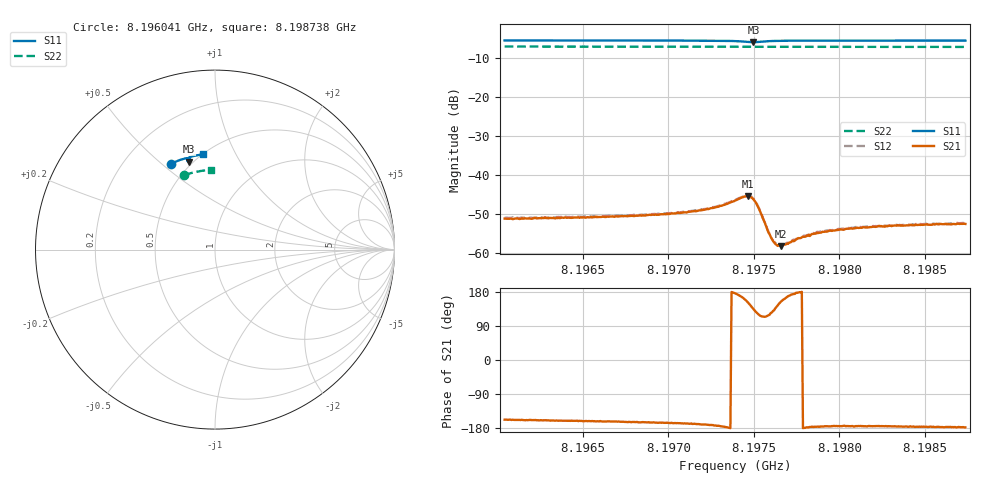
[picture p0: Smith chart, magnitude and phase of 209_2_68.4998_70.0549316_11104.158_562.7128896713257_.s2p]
#  HZ  S  RI  R  50.00
! Rohde & Schwarz Vector Network Analyzer
! Rohde-Schwarz,ZNB20-2Port,1311601062101988,3.16
! Created: UTC 3/20/2024, 5:13:04 PM
! freq[Hz]  re:S11  im:S11  re:S21  im:S21  re:S12  im:S12  re:S22  im:S22
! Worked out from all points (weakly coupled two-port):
!   401 points, 8.196041 GHz to 8.198738 GHz, reference 50 ohm
!   highest |S21| = -45.43 dB at 8.197464 GHz (marker M1); lowest = -58.3 dB at 8.197659 GHz (marker M2)
!   lowest |S11| = -5.8 dB at 8.197497 GHz (marker M3), VSWR 3.08, Z = 23.9 + j31.6 ohm
!   |S11| at or under -10 dB: nowhere
!   |S22| runs from -7.1 to -7.0 dB; largest |S21 - S12| = 0.00031
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8.1960409e9  -0.245 0.4778  -0.00254 -0.00105  -0.00263 -0.000969  -0.1701 0.4145
8.1964927e9  -0.2154 0.4914  -0.00267 -0.000942  -0.00277 -0.000841  -0.1461 0.4227
8.1969444e9  -0.1843 0.5029  -0.00298 -0.000773  -0.00311 -0.000692  -0.1215 0.4296
8.197059e9  -0.1758 0.5055  -0.00316 -0.000744  -0.00326 -0.000619  -0.1152 0.431
8.1972209e9  -0.1625 0.5087  -0.00358 -0.000588  -0.00364 -0.000448  -0.1063 0.4331
8.1972883e9  -0.1561 0.5094  -0.00388 -0.000431  -0.00396 -0.000296  -0.1026 0.4339
8.1973894e9  -0.1442 0.5072  -0.00468 0.000327  -0.00478 0.000509  -0.0967 0.435
8.1974366e9  -0.1388 0.5012  -0.00498 0.00143  -0.00501 0.00167  -0.0941 0.4352
8.1974636e9  -0.1384 0.4954  -0.00475 0.00248  -0.00474 0.00269  -0.0928 0.4353
8.1974771e9  -0.1399 0.4925  -0.00436 0.00297  -0.00433 0.0032  -0.092 0.4353
8.1974973e9  -0.1442 0.4896  -0.00339 0.00348  -0.0033 0.00368  -0.091 0.4354
8.1975243e9  -0.151 0.4907  -0.00203 0.00333  -0.00192 0.00349  -0.0897 0.4358
8.1975917e9  -0.154 0.5034  -0.000855 0.00151  -0.00082 0.00155  -0.0862 0.4367
8.1976119e9  -0.1524 0.506  -0.000894 0.0011  -0.000863 0.00115  -0.0851 0.4369
8.1976322e9  -0.1508 0.5082  -0.00097 0.00081  -0.000961 0.000896  -0.0839 0.4372
8.1976591e9  -0.148 0.5105  -0.0011 0.000525  -0.00111 0.000594  -0.0824 0.4376
8.1976996e9  -0.1444 0.5129  -0.00127 0.000265  -0.00132 0.00035  -0.0801 0.4379
8.1977738e9  -0.1377 0.516  -0.00154 3.66e-05  -0.00156 9.44e-05  -0.0759 0.4385
8.1978412e9  -0.1321 0.5179  -0.00174 -0.00013  -0.00177 -1.31e-05  -0.0722 0.4391
8.1980097e9  -0.1191 0.5215  -0.00198 -0.000191  -0.00202 -0.000124  -0.0627 0.4402
8.1982929e9  -0.0982 0.5257  -0.00222 -0.0002  -0.00225 -5.92e-05  -0.0467 0.4418
8.1987379e9  -0.0663 0.5304  -0.00235 -9.32e-05  -0.00238 -2.98e-05  -0.0215 0.4428
